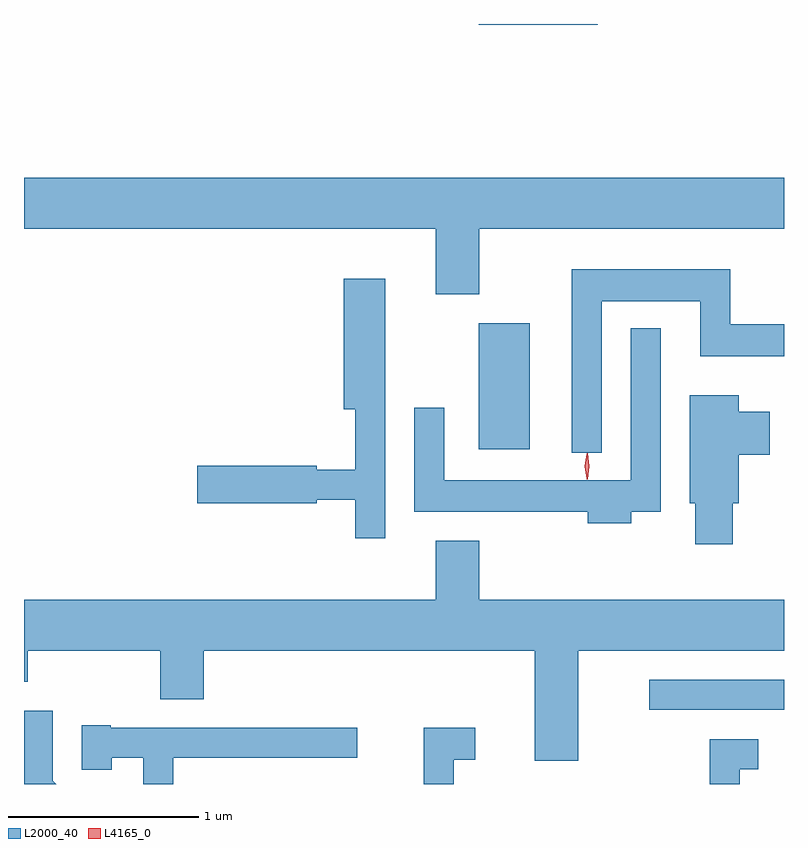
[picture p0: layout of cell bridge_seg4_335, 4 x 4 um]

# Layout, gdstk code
import gdstk
lib = gdstk.Library(unit=1e-6, precision=1e-09)
def R(c, l, rs):  # rectangles x0, y0, x1, y1
    for r in rs: c.add(gdstk.rectangle(r[:2], r[2:], *l))
def P(c, l, *ps):  # polygons
    for p in ps: c.add(gdstk.Polygon(p, *l))
L2000_40 = (2000, 40)
L4165_0 = (4165, 0)

bridge_seg4_335 = lib.new_cell('bridge_seg4_335')
R(bridge_seg4_335, L2000_40, [(724.543,1272.226,725.253,1272.384), (723.646,1273.596,723.914,1274.259), (723.646,1275.831,724.274,1275.834)])
P(bridge_seg4_335, L2000_40, [(723.649,1274.756),(725.253,1274.756),(725.253,1275.024),(721.253,1275.024),(721.253,1274.756),(723.421,1274.756),(723.421,1274.411),(723.649,1274.411)],
  [(724.294,1274.376),(724.811,1274.376),(724.811,1274.086),(725.253,1274.086),(725.253,1274.254),(724.969,1274.254),(724.969,1274.544),(724.136,1274.544),(724.136,1273.578),(724.294,1273.578)],
  [(723.154,1274.494),(722.936,1274.494),(722.936,1273.806),(722.996,1273.806),(722.996,1273.489),(722.794,1273.489),(722.794,1273.509),(722.166,1273.509),(722.166,1273.311),(722.794,1273.311),(722.794,1273.331),(722.996,1273.331),(722.996,1273.128),(723.154,1273.128)],
  [(724.449,1273.266),(724.604,1273.266),(724.604,1274.233),(724.446,1274.233),(724.446,1273.434),(723.464,1273.434),(723.464,1273.813),(723.306,1273.813),(723.306,1273.266),(724.221,1273.266),(724.221,1273.206),(724.449,1273.206)],
  [(724.984,1273.311),(725.014,1273.311),(725.014,1273.566),(725.179,1273.566),(725.179,1273.794),(725.014,1273.794),(725.014,1273.879),(724.756,1273.879),(724.756,1273.311),(724.786,1273.311),(724.786,1273.096),(724.984,1273.096)],
  [(724.169,1272.536),(725.253,1272.536),(725.253,1272.804),(723.649,1272.804),(723.649,1273.114),(723.421,1273.114),(723.421,1272.804),(721.253,1272.804),(721.253,1272.371),(721.274,1272.371),(721.274,1272.536),(721.971,1272.536),(721.971,1272.281),(722.199,1272.281),(722.199,1272.536),(723.941,1272.536),(723.941,1271.956),(724.169,1271.956)],
  [(721.404,1271.852),(721.404,1272.219),(721.253,1272.219),(721.253,1271.834),(721.422,1271.834)],
  [(722.039,1271.971),(723.008,1271.971),(723.008,1272.129),(721.71,1272.129),(721.71,1272.144),(721.556,1272.144),(721.556,1271.908),(721.714,1271.908),(721.714,1271.971),(721.881,1271.971),(721.881,1271.834),(722.039,1271.834)],
  [(723.514,1271.961),(723.628,1271.961),(723.628,1272.129),(723.356,1272.129),(723.356,1271.834),(723.514,1271.834)],
  [(725.019,1271.911),(725.118,1271.911),(725.118,1272.069),(724.861,1272.069),(724.861,1271.834),(725.019,1271.834)])
P(bridge_seg4_335, L4165_0, [(724.215,1273.439),(724.214,1273.44),(724.205,1273.506),(724.214,1273.572),(724.215,1273.573),(724.215,1273.572),(724.225,1273.506),(724.215,1273.44)],
  [(724.219,1273.437),(724.218,1273.438),(724.209,1273.507),(724.218,1273.576),(724.218,1273.576),(724.219,1273.576),(724.229,1273.507),(724.22,1273.438)])

lib.write_gds('bridge_seg4_335.gds')
